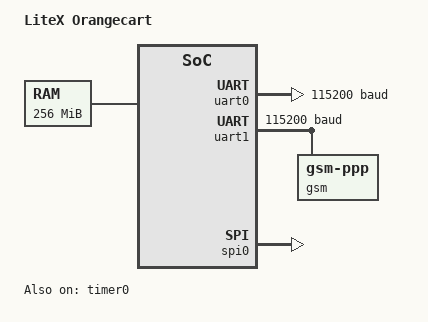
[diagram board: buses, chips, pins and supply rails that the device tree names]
/*
 * Copyright (c) 2022 pottendo
 *
 * SPDX-License-Identifier: Apache-2.0
 */

/dts-v1/;

#include <riscv32-RVCop64.dtsi>
//#include <riscv32-SMP-RVCop64.dtsi>

/ {
	model = "LiteX Orangecart";
	compatible = "litex,vexriscv";
	chosen {
		zephyr,console = &uart0;
		zephyr,shell-uart = &uart0;
		zephyr,sram = &ram0;
		zephyr,uart-pipe = &uart1;
		/* zephyr,gdbstub-uart = &uart0; */
		
	};

	ram0: memory@40000000 {
		device_type = "memory";
		reg = <0x40000000 0x10000000>;
	};
};

&uart0 {
	status = "okay";
	current-speed = <115200>;
};

&uart1 {
	status = "okay";
	current-speed = <115200>;
	gsm: gsm-modem {
		compatible = "zephyr,gsm-ppp";
		status="okay";
	};			
};

&mailbox {
	status = "okay";
};

&timer0 {
	status = "okay";
};
&spi0 {
	status = "okay";
};

/*
&dna0 {
	status = "okay";
};

&prbs0 {
	status = "okay";
};

&i2c0 {
	status = "okay";
};

&pwm0 {
	status = "okay";
};

&i2s_rx {
	status = "okay";
};

&i2s_tx {
	status = "okay";
};
*/
/*
&gpio_out {
	status = "okay";
};

&gpio_in {
	status = "okay";
};

&clk0 {
	status = "okay";
};

&clk1 {
	status = "okay";
};

&clock0 {
	status = "okay";
};
*/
